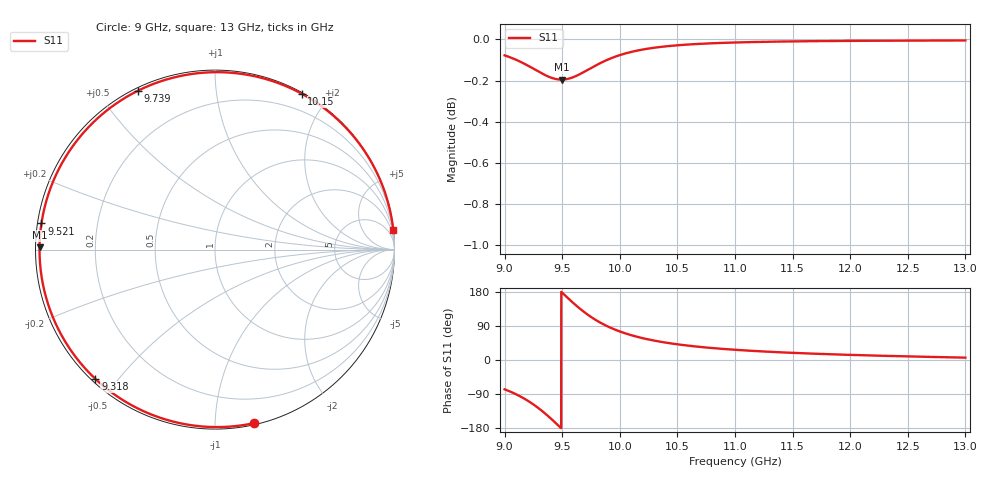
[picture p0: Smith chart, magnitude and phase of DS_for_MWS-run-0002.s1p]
! TOUCHSTONE file generated by CST DESIGN STUDIO
! Date and time: Tue Feb  4 15:48:25 2025
! Project name: C:\Work\MatlabApps\UnitCellOptimizationMatlab\CST\unitcell.cst
! Tree item: Tasks\Sweep1\SPara1\S-Parameters
! Header version: 2024
! Port assignment regex: !\s*Touchstone port\s*([0-9]+)\s*=\s*(CST MWS port|CST DES external port|CST DES block port)\s*(.+)\s* \(\"(.*)\"\)(\s*mode\s*([0-9]+))?.*
! Touchstone port assignment:
! Touchstone port 1 = CST DES external port 1 ("")
# GHz S MA R 50
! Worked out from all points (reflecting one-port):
!   4001 points, 9 GHz to 13 GHz, reference 50 ohm
!   lowest |S11| = -0.2 dB at 9.494 GHz (marker M1), VSWR 89.03, Z = 0.562 + j0.342 ohm
!   phase of S11 starts at -77 deg and turns -276 deg over the sweep
!   S11 on the Smith chart (normalised r, x): 9 GHz: 0.01, -1.25; 9.318 GHz: 0.01, -0.44; 9.521 GHz: 0.01, +0.07; 9.739 GHz: 0.01, +0.63; 10.15 GHz: 0.01, +1.70; 13 GHz: 0, +18
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9  0.9912 -77.4
9.082  0.9892 -87.9
9.182  0.9862 -103.9
9.253  0.9837 -117.9
9.318  0.9814 -132.8
9.365  0.9799 -144.7
9.414  0.9786 -157.9
9.455  0.978 -169.5
9.494  0.9778 179.2
9.5  0.9778 177.5
9.521  0.9779 171.4
9.574  0.9786 156.4
9.634  0.9802 140.4
9.686  0.9819 127.6
9.739  0.9838 115.9
9.792  0.9856 105.5
9.851  0.9875 95.3
9.925  0.9896 84.5
10  0.9913 75.3
10.155  0.9938 60.9
10.312  0.9955 50.4
10.5  0.9968 41.4
10.722  0.9976 33.7
11  0.9983 26.9
11.5  0.9989 18.9
12  0.9992 13.5
12.5  0.9994 9.5
13  0.9995 6.2
